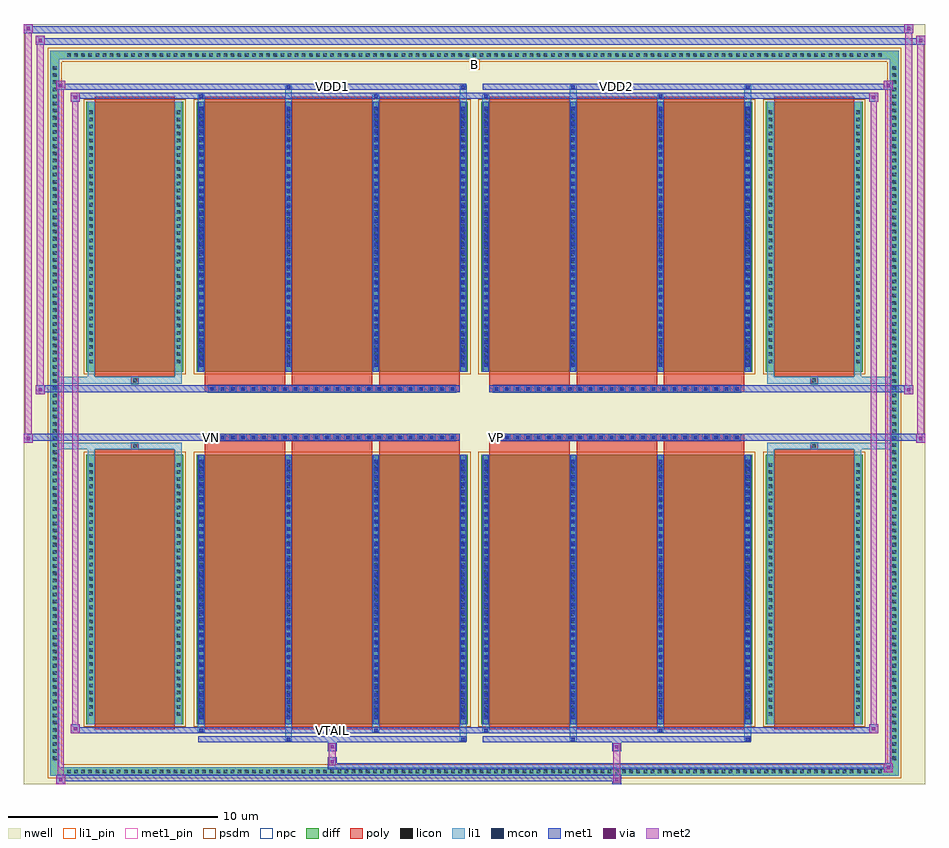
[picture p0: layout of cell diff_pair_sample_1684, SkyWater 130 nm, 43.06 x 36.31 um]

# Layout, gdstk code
import gdstk
lib = gdstk.Library(unit=1e-6, precision=5e-09)
def R(c, l, rs):  # rectangles x0, y0, x1, y1
    for r in rs: c.add(gdstk.rectangle(r[:2], r[2:], *l))
def A(c, l, x, y, w, h, nx, ny, dx, dy):  # array of equal rectangles
    R(c, l, [(x+i*dx, y+j*dy, x+i*dx+w, y+j*dy+h) for i in range(nx) for j in range(ny)])
def P(c, l, *ps):  # polygons
    for p in ps: c.add(gdstk.Polygon(p, *l))
nwell = (64, 20)
diff = (65, 20)
poly = (66, 20)
licon = (66, 44)
li1_pin = (67, 16)
li1 = (67, 20)
mcon = (67, 44)
met1_pin = (68, 16)
met1 = (68, 20)
via = (68, 44)
met2 = (69, 20)
psdm = (94, 20)
npc = (95, 20)

diff_pair_sample_1684 = lib.new_cell('diff_pair_sample_1684')
R(diff_pair_sample_1684, nwell, [(-21.53,-17.72,21.53,18.59), (-18.85,-15.91,-0.01,-0.795), (0.01,-15.91,18.85,-0.795), (-18.85,0.795,-0.01,15.91), (0.01,0.795,18.85,15.91)])
A(diff_pair_sample_1684, diff, -19.585, -17.32, 0.41, 0.41, 115, 2, 0.34, 34.23)
A(diff_pair_sample_1684, diff, -20.26, -16.695, 0.41, 0.41, 1, 98, 0, 0.34)
A(diff_pair_sample_1684, diff, 19.85, -16.695, 0.41, 0.41, 1, 98, 0, 0.34)
R(diff_pair_sample_1684, diff, [(-19.585,-17.32,19.585,-16.91), (-20.26,-16.695,-19.85,16.695), (19.85,-16.695,20.26,16.695), (-18.54,-14.865,-13.92,-1.985), (-13.28,-14.865,-0.32,-1.985), (0.32,-14.865,13.28,-1.985), (13.92,-14.865,18.54,-1.985), (-18.54,1.985,-13.92,14.865), (-13.28,1.985,-0.32,14.865), (0.32,1.985,13.28,14.865), (13.92,1.985,18.54,14.865), (-19.585,16.91,19.585,17.32)])
P(diff_pair_sample_1684, diff, [(20.26,17.32),(-20.26,17.32),(-20.26,-16.91),(-19.85,-16.91),(-19.85,16.91),(19.85,16.91),(19.85,-16.91),(-19.85,-16.91),(-20.26,-16.91),(-20.26,-17.32),(20.26,-17.32)])
A(diff_pair_sample_1684, poly, -12.89, -15.115, 3.84, 13.38, 3, 2, 4.17, 16.85)
A(diff_pair_sample_1684, poly, 0.71, -15.115, 3.84, 13.38, 3, 2, 4.17, 16.85)
A(diff_pair_sample_1684, poly, -12.89, -1.735, 3.84, 0.41, 3, 2, 4.17, 3.06)
A(diff_pair_sample_1684, poly, 0.71, -1.735, 3.84, 0.41, 3, 2, 4.17, 3.06)
A(diff_pair_sample_1684, poly, -12.715, -1.325, 0.33, 0.33, 24, 2, 0.5, 2.32)
A(diff_pair_sample_1684, poly, 0.885, -1.325, 0.33, 0.33, 24, 2, 0.5, 2.32)
R(diff_pair_sample_1684, poly, [(-18.15,-15.115,-14.31,-1.735), (14.31,-15.115,18.15,-1.735), (-16.395,-1.735,-16.065,-1.405), (-16.395,-1.735,-16.065,-1.405), (16.065,-1.735,16.395,-1.405), (16.065,-1.735,16.395,-1.405), (-12.89,-1.325,-0.71,-0.995), (0.71,-1.325,12.89,-0.995), (-12.89,0.995,-0.71,1.325), (0.71,0.995,12.89,1.325), (-16.395,1.405,-16.065,1.735), (-16.395,1.405,-16.065,1.735), (16.065,1.405,16.395,1.735), (16.065,1.405,16.395,1.735), (-18.15,1.735,-14.31,15.115), (14.31,1.735,18.15,15.115)])
A(diff_pair_sample_1684, licon, -19.465, -17.2, 0.17, 0.17, 115, 2, 0.34, 34.23)
A(diff_pair_sample_1684, licon, -20.14, -16.575, 0.17, 0.17, 1, 98, 0, 0.34)
A(diff_pair_sample_1684, licon, 19.97, -16.575, 0.17, 0.17, 1, 98, 0, 0.34)
A(diff_pair_sample_1684, licon, -18.4, -14.46, 0.17, 0.17, 1, 36, 0, 0.34)
A(diff_pair_sample_1684, licon, -14.23, -14.46, 0.17, 0.17, 1, 36, 0, 0.34)
A(diff_pair_sample_1684, licon, -13.14, -14.46, 0.17, 0.17, 4, 36, 4.17, 0.34)
A(diff_pair_sample_1684, licon, 0.46, -14.46, 0.17, 0.17, 4, 36, 4.17, 0.34)
A(diff_pair_sample_1684, licon, 14.06, -14.46, 0.17, 0.17, 1, 36, 0, 0.34)
A(diff_pair_sample_1684, licon, 18.23, -14.46, 0.17, 0.17, 1, 36, 0, 0.34)
A(diff_pair_sample_1684, licon, -12.635, -1.245, 0.17, 0.17, 24, 2, 0.5, 2.32)
A(diff_pair_sample_1684, licon, 0.965, -1.245, 0.17, 0.17, 24, 2, 0.5, 2.32)
A(diff_pair_sample_1684, licon, -18.4, 2.39, 0.17, 0.17, 1, 36, 0, 0.34)
A(diff_pair_sample_1684, licon, -14.23, 2.39, 0.17, 0.17, 1, 36, 0, 0.34)
A(diff_pair_sample_1684, licon, -13.14, 2.39, 0.17, 0.17, 4, 36, 4.17, 0.34)
A(diff_pair_sample_1684, licon, 0.46, 2.39, 0.17, 0.17, 4, 36, 4.17, 0.34)
A(diff_pair_sample_1684, licon, 14.06, 2.39, 0.17, 0.17, 1, 36, 0, 0.34)
A(diff_pair_sample_1684, licon, 18.23, 2.39, 0.17, 0.17, 1, 36, 0, 0.34)
R(diff_pair_sample_1684, licon, [(-16.315,-1.655,-16.145,-1.485), (16.145,-1.655,16.315,-1.485), (-16.315,1.485,-16.145,1.655), (16.145,1.485,16.315,1.655)])
R(diff_pair_sample_1684, li1_pin, [(-0.25,16.41,0.25,16.91)])
A(diff_pair_sample_1684, li1, -19.545, -17.28, 0.33, 0.33, 115, 2, 0.34, 34.23)
A(diff_pair_sample_1684, li1, -20.22, -16.655, 0.33, 0.33, 1, 98, 0, 0.34)
A(diff_pair_sample_1684, li1, 19.89, -16.655, 0.33, 0.33, 1, 98, 0, 0.34)
A(diff_pair_sample_1684, li1, -13.22, -14.865, 0.33, 12.88, 4, 2, 4.17, 16.85)
A(diff_pair_sample_1684, li1, 0.38, -14.865, 0.33, 12.88, 4, 2, 4.17, 16.85)
A(diff_pair_sample_1684, li1, -13.14, -14.63, 0.17, 0.17, 4, 35, 4.17, 0.36)
A(diff_pair_sample_1684, li1, -13.14, -14.63, 0.17, 12.41, 4, 2, 4.17, 16.85)
A(diff_pair_sample_1684, li1, 0.46, -14.63, 0.17, 0.17, 4, 35, 4.17, 0.36)
A(diff_pair_sample_1684, li1, 0.46, -14.63, 0.17, 12.41, 4, 2, 4.17, 16.85)
A(diff_pair_sample_1684, li1, -18.48, -14.54, 0.33, 0.33, 1, 36, 0, 0.34)
A(diff_pair_sample_1684, li1, -14.31, -14.54, 0.33, 0.33, 1, 36, 0, 0.34)
A(diff_pair_sample_1684, li1, -13.22, -14.54, 0.33, 0.33, 4, 36, 4.17, 0.34)
A(diff_pair_sample_1684, li1, 0.38, -14.54, 0.33, 0.33, 4, 36, 4.17, 0.34)
A(diff_pair_sample_1684, li1, 13.98, -14.54, 0.33, 0.33, 1, 36, 0, 0.34)
A(diff_pair_sample_1684, li1, 18.15, -14.54, 0.33, 0.33, 1, 36, 0, 0.34)
A(diff_pair_sample_1684, li1, -12.715, -1.325, 0.33, 0.33, 24, 2, 0.5, 2.32)
A(diff_pair_sample_1684, li1, 0.885, -1.325, 0.33, 0.33, 24, 2, 0.5, 2.32)
A(diff_pair_sample_1684, li1, -13.14, 2.22, 0.17, 0.17, 4, 35, 4.17, 0.36)
A(diff_pair_sample_1684, li1, 0.46, 2.22, 0.17, 0.17, 4, 35, 4.17, 0.36)
A(diff_pair_sample_1684, li1, -18.48, 2.31, 0.33, 0.33, 1, 36, 0, 0.34)
A(diff_pair_sample_1684, li1, -14.31, 2.31, 0.33, 0.33, 1, 36, 0, 0.34)
A(diff_pair_sample_1684, li1, -13.22, 2.31, 0.33, 0.33, 4, 36, 4.17, 0.34)
A(diff_pair_sample_1684, li1, 0.38, 2.31, 0.33, 0.33, 4, 36, 4.17, 0.34)
A(diff_pair_sample_1684, li1, 13.98, 2.31, 0.33, 0.33, 1, 36, 0, 0.34)
A(diff_pair_sample_1684, li1, 18.15, 2.31, 0.33, 0.33, 1, 36, 0, 0.34)
R(diff_pair_sample_1684, li1, [(-20.26,-17.32,-19.85,-16.91), (-20.26,-17.32,-19.85,-16.91), (-19.85,-17.32,19.85,-16.91), (19.85,-17.32,20.26,-16.91), (19.85,-17.32,20.26,-16.91), (-20.26,-16.91,-19.85,16.91), (19.85,-16.91,20.26,16.91), (-9.05,-15.67,-8.72,-14.865), (-8.97,-15.67,-8.8,-15.5), (-0.71,-15.67,-0.38,-14.865), (-0.63,-15.67,-0.46,-15.5), (4.55,-15.67,4.88,-14.865), (4.63,-15.67,4.8,-15.5), (12.89,-15.67,13.22,-14.865), (12.97,-15.67,13.14,-15.5), (-13.22,-15.24,-12.89,-14.865), (-13.14,-15.24,-12.97,-15.07), (-4.88,-15.24,-4.55,-14.865), (-4.8,-15.24,-4.63,-15.07), (0.38,-15.24,0.71,-14.865), (0.46,-15.24,0.63,-15.07), (8.72,-15.24,9.05,-14.865), (8.8,-15.24,8.97,-15.07), (-18.48,-14.865,-18.15,-1.985), (-14.31,-14.865,-13.98,-1.985), (13.98,-14.865,14.31,-1.985), (18.15,-14.865,18.48,-1.985), (-18.48,-1.985,-18.15,-1.405), (-14.31,-1.985,-13.98,-1.405), (13.98,-1.985,14.31,-1.405), (18.15,-1.985,18.48,-1.405), (-20.26,-1.735,-16.395,-1.405), (-18.48,-1.735,-16.395,-1.405), (-16.395,-1.735,-16.065,-1.405), (-16.065,-1.735,-13.98,-1.405), (13.98,-1.735,16.065,-1.405), (16.065,-1.735,16.395,-1.405), (16.065,-1.735,20.26,-1.405), (16.395,-1.735,18.48,-1.405), (-20.26,1.405,-16.395,1.735), (-18.48,1.405,-16.395,1.735), (-18.48,1.405,-18.15,1.985), (-16.395,1.405,-16.065,1.735), (-16.065,1.405,-13.98,1.735), (-14.31,1.405,-13.98,1.985), (13.98,1.405,16.065,1.735), (13.98,1.405,14.31,1.985), (16.065,1.405,16.395,1.735), (16.065,1.405,20.26,1.735), (16.395,1.405,18.48,1.735), (18.15,1.405,18.48,1.985), (-18.48,1.985,-18.15,14.865), (-14.31,1.985,-13.98,14.865), (13.98,1.985,14.31,14.865), (18.15,1.985,18.48,14.865), (-13.22,14.865,-12.89,15.24), (-9.05,14.865,-8.72,15.67), (-4.88,14.865,-4.55,15.24), (-0.71,14.865,-0.38,15.67), (0.38,14.865,0.71,15.24), (4.55,14.865,4.88,15.67), (8.72,14.865,9.05,15.24), (12.89,14.865,13.22,15.67), (-13.14,15.07,-12.97,15.24), (-4.8,15.07,-4.63,15.24), (0.46,15.07,0.63,15.24), (8.8,15.07,8.97,15.24), (-8.97,15.5,-8.8,15.67), (-0.63,15.5,-0.46,15.67), (4.63,15.5,4.8,15.67), (12.97,15.5,13.14,15.67), (-20.26,16.91,-19.85,17.32), (-20.26,16.91,-19.85,17.32), (-19.85,16.91,19.85,17.32), (19.85,16.91,20.26,17.32), (19.85,16.91,20.26,17.32)])
A(diff_pair_sample_1684, mcon, -13.14, -14.63, 0.17, 0.17, 4, 35, 4.17, 0.36)
A(diff_pair_sample_1684, mcon, 0.46, -14.63, 0.17, 0.17, 4, 35, 4.17, 0.36)
A(diff_pair_sample_1684, mcon, -12.635, -1.245, 0.17, 0.17, 24, 2, 0.5, 2.32)
A(diff_pair_sample_1684, mcon, 0.965, -1.245, 0.17, 0.17, 24, 2, 0.5, 2.32)
A(diff_pair_sample_1684, mcon, -13.14, 2.22, 0.17, 0.17, 4, 35, 4.17, 0.36)
A(diff_pair_sample_1684, mcon, 0.46, 2.22, 0.17, 0.17, 4, 35, 4.17, 0.36)
R(diff_pair_sample_1684, mcon, [(-8.97,-15.67,-8.8,-15.5), (-0.63,-15.67,-0.46,-15.5), (4.63,-15.67,4.8,-15.5), (12.97,-15.67,13.14,-15.5), (-13.14,-15.24,-12.97,-15.07), (-4.8,-15.24,-4.63,-15.07), (0.46,-15.24,0.63,-15.07), (8.8,-15.24,8.97,-15.07), (-13.14,15.07,-12.97,15.24), (-4.8,15.07,-4.63,15.24), (0.46,15.07,0.63,15.24), (8.8,15.07,8.97,15.24), (-8.97,15.5,-8.8,15.67), (-0.63,15.5,-0.46,15.67), (4.63,15.5,4.8,15.67), (12.97,15.5,13.14,15.67)])
R(diff_pair_sample_1684, met1_pin, [(-6.935,-15.28,-6.665,-15.01), (-12.685,-1.285,-12.415,-1.015), (0.915,-1.285,1.185,-1.015), (-6.935,15.46,-6.665,15.73), (6.665,15.46,6.935,15.73)])
A(diff_pair_sample_1684, met1, -13.2, -14.865, 0.29, 12.88, 4, 2, 4.17, 16.85)
A(diff_pair_sample_1684, met1, 0.4, -14.865, 0.29, 12.88, 4, 2, 4.17, 16.85)
A(diff_pair_sample_1684, met1, -13.2, -14.69, 0.29, 0.29, 4, 35, 4.17, 0.36)
A(diff_pair_sample_1684, met1, 0.4, -14.69, 0.29, 0.29, 4, 35, 4.17, 0.36)
A(diff_pair_sample_1684, met1, -12.695, -1.305, 0.29, 0.29, 24, 2, 0.5, 2.32)
A(diff_pair_sample_1684, met1, 0.905, -1.305, 0.29, 0.29, 24, 2, 0.5, 2.32)
A(diff_pair_sample_1684, met1, -13.2, 2.16, 0.29, 0.29, 4, 35, 4.17, 0.36)
A(diff_pair_sample_1684, met1, 0.4, 2.16, 0.29, 0.29, 4, 35, 4.17, 0.36)
R(diff_pair_sample_1684, met1, [(-19.99,-17.72,-19.56,-17.29), (6.585,-17.72,7.015,-17.29), (-19.99,-17.58,7.015,-17.29), (19.56,-17.15,19.99,-16.72), (-7.015,-17.01,19.99,-16.72), (-7.015,-16.87,-6.585,-16.44), (-7.015,-16.16,-6.585,-15.73), (6.585,-16.16,7.015,-15.73), (-13.2,-15.73,-0.4,-15.44), (-9.03,-15.73,-8.74,-15.44), (-0.69,-15.73,-0.4,-15.44), (0.4,-15.73,13.2,-15.44), (4.57,-15.73,4.86,-15.44), (12.91,-15.73,13.2,-15.44), (-19.28,-15.3,-18.85,-14.87), (-19.28,-15.3,-13.2,-15.01), (-13.2,-15.3,-12.91,-15.01), (-13.2,-15.3,-0.4,-15.01), (-4.86,-15.3,-4.57,-15.01), (-0.4,-15.3,0.4,-15.01), (0.4,-15.3,0.69,-15.01), (0.4,-15.3,13.2,-15.01), (8.74,-15.3,9.03,-15.01), (13.2,-15.3,19.28,-15.01), (18.85,-15.3,19.28,-14.87), (-21.53,-1.425,-21.1,-0.995), (21.1,-1.425,21.53,-0.995), (-21.53,-1.325,-0.71,-0.995), (-12.89,-1.325,-0.71,-0.995), (0.71,-1.325,12.89,-0.995), (0.71,-1.325,21.53,-0.995), (-20.96,0.895,-20.53,1.325), (20.53,0.895,20.96,1.325), (-20.96,0.995,-12.89,1.325), (-12.89,0.995,-0.71,1.325), (0.71,0.995,12.89,1.325), (12.89,0.995,20.96,1.325), (-19.28,14.87,-18.85,15.3), (18.85,14.87,19.28,15.3), (-19.28,15.01,-13.2,15.3), (-13.2,15.01,-12.91,15.3), (-13.2,15.01,-0.4,15.3), (-4.86,15.01,-4.57,15.3), (-0.4,15.01,0.4,15.3), (0.4,15.01,0.69,15.3), (0.4,15.01,13.2,15.3), (8.74,15.01,9.03,15.3), (13.2,15.01,19.28,15.3), (-19.99,15.44,-19.56,15.87), (-19.99,15.44,-13.2,15.73), (-13.2,15.44,-0.4,15.73), (-9.03,15.44,-8.74,15.73), (-0.69,15.44,-0.4,15.73), (0.4,15.44,13.2,15.73), (4.57,15.44,4.86,15.73), (12.91,15.44,13.2,15.73), (13.2,15.44,19.99,15.73), (19.56,15.44,19.99,15.87), (-20.96,17.59,-20.53,18.02), (-20.96,17.59,-18.85,17.92), (-18.85,17.59,18.85,17.92), (18.85,17.59,21.53,17.92), (21.1,17.59,21.53,18.02), (-21.53,18.16,-21.1,18.59), (-21.53,18.16,-18.85,18.49), (-18.85,18.16,18.85,18.49), (18.85,18.16,20.96,18.49), (20.53,18.16,20.96,18.59)])
R(diff_pair_sample_1684, via, [(-19.85,-17.58,-19.7,-17.43), (6.725,-17.58,6.875,-17.43), (19.7,-17.01,19.85,-16.86), (-6.875,-16.73,-6.725,-16.58), (-6.875,-16.02,-6.725,-15.87), (6.725,-16.02,6.875,-15.87), (-19.14,-15.16,-18.99,-15.01), (18.99,-15.16,19.14,-15.01), (-21.39,-1.285,-21.24,-1.135), (21.24,-1.285,21.39,-1.135), (-20.82,1.035,-20.67,1.185), (20.67,1.035,20.82,1.185), (-19.14,15.01,-18.99,15.16), (18.99,15.01,19.14,15.16), (-19.85,15.58,-19.7,15.73), (19.7,15.58,19.85,15.73), (-20.82,17.73,-20.67,17.88), (21.24,17.73,21.39,17.88), (-21.39,18.3,-21.24,18.45), (20.67,18.3,20.82,18.45)])
R(diff_pair_sample_1684, met2, [(-19.99,-17.72,-19.56,-17.29), (-19.92,-17.72,-19.63,15.87), (-19.63,-17.72,-19.56,-17.29), (-19.94,-17.67,-19.61,-17.34), (6.635,-17.67,6.965,-17.34), (6.635,-17.34,6.965,-16.11), (19.56,-17.15,19.99,-16.72), (19.63,-17.15,19.92,15.87), (19.92,-17.15,19.99,-16.72), (19.61,-17.1,19.94,-16.77), (-6.965,-16.82,-6.635,-16.49), (-6.965,-16.49,-6.635,-16.11), (-6.965,-16.11,-6.635,-15.78), (6.635,-16.11,6.965,-15.78), (-19.28,-15.3,-18.85,-14.87), (-19.21,-15.3,-18.92,15.3), (-18.92,-15.3,-18.85,-14.87), (18.85,-15.3,19.28,-14.87), (18.92,-15.3,19.21,15.3), (19.21,-15.3,19.28,-14.87), (-19.23,-15.25,-18.9,-14.92), (18.9,-15.25,19.23,-14.92), (-21.53,-1.425,-21.1,-0.995), (-21.48,-1.425,-21.15,18.59), (-21.15,-1.425,-21.1,-0.995), (21.1,-1.425,21.53,-0.995), (21.15,-1.425,21.48,18.02), (21.48,-1.425,21.53,-0.995), (-21.48,-1.375,-21.15,-1.045), (21.15,-1.375,21.48,-1.045), (-20.96,0.895,-20.53,1.325), (-20.91,0.895,-20.58,18.02), (-20.58,0.895,-20.53,1.325), (20.53,0.895,20.96,1.325), (20.58,0.895,20.91,18.59), (20.91,0.895,20.96,1.325), (-20.91,0.945,-20.58,1.275), (20.58,0.945,20.91,1.275), (-19.28,14.87,-18.85,15.3), (-18.92,14.87,-18.85,15.3), (18.85,14.87,19.28,15.3), (19.21,14.87,19.28,15.3), (-19.23,14.92,-18.9,15.25), (18.9,14.92,19.23,15.25), (-19.99,15.44,-19.56,15.87), (-19.63,15.44,-19.56,15.87), (19.56,15.44,19.99,15.87), (19.92,15.44,19.99,15.87), (-19.94,15.49,-19.61,15.82), (19.61,15.49,19.94,15.82), (-20.96,17.59,-20.53,18.02), (-20.58,17.59,-20.53,18.02), (21.1,17.59,21.53,18.02), (21.48,17.59,21.53,18.02), (-20.91,17.64,-20.58,17.97), (21.15,17.64,21.48,17.97), (-21.53,18.16,-21.1,18.59), (-21.15,18.16,-21.1,18.59), (20.53,18.16,20.96,18.59), (20.91,18.16,20.96,18.59), (-21.48,18.21,-21.15,18.54), (20.58,18.21,20.91,18.54)])
R(diff_pair_sample_1684, psdm, [(-18.67,-14.995,-13.79,-1.855), (-13.41,-14.995,-0.19,-1.855), (0.19,-14.995,13.41,-1.855), (13.79,-14.995,18.67,-1.855), (-18.67,1.855,-13.79,14.995), (-13.41,1.855,-0.19,14.995), (0.19,1.855,13.41,14.995), (13.79,1.855,18.67,14.995)])
P(diff_pair_sample_1684, psdm, [(20.39,17.45),(-20.39,17.45),(-20.39,-16.78),(-19.72,-16.78),(-19.72,16.78),(19.72,16.78),(19.72,-16.78),(-19.72,-16.78),(-20.39,-16.78),(-20.39,-17.45),(20.39,-17.45)])
A(diff_pair_sample_1684, npc, -12.735, -1.345, 0.37, 0.37, 24, 2, 0.5, 2.32)
A(diff_pair_sample_1684, npc, 0.865, -1.345, 0.37, 0.37, 24, 2, 0.5, 2.32)
R(diff_pair_sample_1684, npc, [(-16.415,-1.755,-16.045,-1.385), (16.045,-1.755,16.415,-1.385), (-12.735,-1.345,-11.865,-0.975), (-12.735,-1.345,-11.865,-0.975), (-12.235,-1.345,-11.365,-0.975), (-12.235,-1.345,-11.365,-0.975), (-11.735,-1.345,-10.865,-0.975), (-11.735,-1.345,-10.865,-0.975), (-11.235,-1.345,-10.365,-0.975), (-11.235,-1.345,-10.365,-0.975), (-10.735,-1.345,-9.865,-0.975), (-10.735,-1.345,-9.865,-0.975), (-10.235,-1.345,-9.365,-0.975), (-10.235,-1.345,-9.365,-0.975), (-9.735,-1.345,-8.865,-0.975), (-9.735,-1.345,-8.865,-0.975), (-9.235,-1.345,-8.365,-0.975), (-9.235,-1.345,-8.365,-0.975), (-8.735,-1.345,-7.865,-0.975), (-8.735,-1.345,-7.865,-0.975), (-8.235,-1.345,-7.365,-0.975), (-8.235,-1.345,-7.365,-0.975), (-7.735,-1.345,-6.865,-0.975), (-7.735,-1.345,-6.865,-0.975), (-7.235,-1.345,-6.365,-0.975), (-7.235,-1.345,-6.365,-0.975), (-6.735,-1.345,-5.865,-0.975), (-6.735,-1.345,-5.865,-0.975), (-6.235,-1.345,-5.365,-0.975), (-6.235,-1.345,-5.365,-0.975), (-5.735,-1.345,-4.865,-0.975), (-5.735,-1.345,-4.865,-0.975), (-5.235,-1.345,-4.365,-0.975), (-5.235,-1.345,-4.365,-0.975), (-4.735,-1.345,-3.865,-0.975), (-4.735,-1.345,-3.865,-0.975), (-4.235,-1.345,-3.365,-0.975), (-4.235,-1.345,-3.365,-0.975), (-3.735,-1.345,-2.865,-0.975), (-3.735,-1.345,-2.865,-0.975), (-3.235,-1.345,-2.365,-0.975), (-3.235,-1.345,-2.365,-0.975), (-2.735,-1.345,-1.865,-0.975), (-2.735,-1.345,-1.865,-0.975), (-2.235,-1.345,-1.365,-0.975), (-2.235,-1.345,-1.365,-0.975), (-1.735,-1.345,-0.865,-0.975), (-1.735,-1.345,-0.865,-0.975), (0.865,-1.345,1.735,-0.975), (0.865,-1.345,1.735,-0.975), (1.365,-1.345,2.235,-0.975), (1.365,-1.345,2.235,-0.975), (1.865,-1.345,2.735,-0.975), (1.865,-1.345,2.735,-0.975), (2.365,-1.345,3.235,-0.975), (2.365,-1.345,3.235,-0.975), (2.865,-1.345,3.735,-0.975), (2.865,-1.345,3.735,-0.975), (3.365,-1.345,4.235,-0.975), (3.365,-1.345,4.235,-0.975), (3.865,-1.345,4.735,-0.975), (3.865,-1.345,4.735,-0.975), (4.365,-1.345,5.235,-0.975), (4.365,-1.345,5.235,-0.975), (4.865,-1.345,5.735,-0.975), (4.865,-1.345,5.735,-0.975), (5.365,-1.345,6.235,-0.975), (5.365,-1.345,6.235,-0.975), (5.865,-1.345,6.735,-0.975), (5.865,-1.345,6.735,-0.975), (6.365,-1.345,7.235,-0.975), (6.365,-1.345,7.235,-0.975), (6.865,-1.345,7.735,-0.975), (6.865,-1.345,7.735,-0.975), (7.365,-1.345,8.235,-0.975), (7.365,-1.345,8.235,-0.975), (7.865,-1.345,8.735,-0.975), (7.865,-1.345,8.735,-0.975), (8.365,-1.345,9.235,-0.975), (8.365,-1.345,9.235,-0.975), (8.865,-1.345,9.735,-0.975), (8.865,-1.345,9.735,-0.975), (9.365,-1.345,10.235,-0.975), (9.365,-1.345,10.235,-0.975), (9.865,-1.345,10.735,-0.975), (9.865,-1.345,10.735,-0.975), (10.365,-1.345,11.235,-0.975), (10.365,-1.345,11.235,-0.975), (10.865,-1.345,11.735,-0.975), (10.865,-1.345,11.735,-0.975), (11.365,-1.345,12.235,-0.975), (11.365,-1.345,12.235,-0.975), (11.865,-1.345,12.735,-0.975), (11.865,-1.345,12.735,-0.975), (-12.735,0.975,-11.865,1.345), (-12.735,0.975,-11.865,1.345), (-12.235,0.975,-11.365,1.345), (-12.235,0.975,-11.365,1.345), (-11.735,0.975,-10.865,1.345), (-11.735,0.975,-10.865,1.345), (-11.235,0.975,-10.365,1.345), (-11.235,0.975,-10.365,1.345), (-10.735,0.975,-9.865,1.345), (-10.735,0.975,-9.865,1.345), (-10.235,0.975,-9.365,1.345), (-10.235,0.975,-9.365,1.345), (-9.735,0.975,-8.865,1.345), (-9.735,0.975,-8.865,1.345), (-9.235,0.975,-8.365,1.345), (-9.235,0.975,-8.365,1.345), (-8.735,0.975,-7.865,1.345), (-8.735,0.975,-7.865,1.345), (-8.235,0.975,-7.365,1.345), (-8.235,0.975,-7.365,1.345), (-7.735,0.975,-6.865,1.345), (-7.735,0.975,-6.865,1.345), (-7.235,0.975,-6.365,1.345), (-7.235,0.975,-6.365,1.345), (-6.735,0.975,-5.865,1.345), (-6.735,0.975,-5.865,1.345), (-6.235,0.975,-5.365,1.345), (-6.235,0.975,-5.365,1.345), (-5.735,0.975,-4.865,1.345), (-5.735,0.975,-4.865,1.345), (-5.235,0.975,-4.365,1.345), (-5.235,0.975,-4.365,1.345), (-4.735,0.975,-3.865,1.345), (-4.735,0.975,-3.865,1.345), (-4.235,0.975,-3.365,1.345), (-4.235,0.975,-3.365,1.345), (-3.735,0.975,-2.865,1.345), (-3.735,0.975,-2.865,1.345), (-3.235,0.975,-2.365,1.345), (-3.235,0.975,-2.365,1.345), (-2.735,0.975,-1.865,1.345), (-2.735,0.975,-1.865,1.345), (-2.235,0.975,-1.365,1.345), (-2.235,0.975,-1.365,1.345), (-1.735,0.975,-0.865,1.345), (-1.735,0.975,-0.865,1.345), (0.865,0.975,1.735,1.345), (0.865,0.975,1.735,1.345), (1.365,0.975,2.235,1.345), (1.365,0.975,2.235,1.345), (1.865,0.975,2.735,1.345), (1.865,0.975,2.735,1.345), (2.365,0.975,3.235,1.345), (2.365,0.975,3.235,1.345), (2.865,0.975,3.735,1.345), (2.865,0.975,3.735,1.345), (3.365,0.975,4.235,1.345), (3.365,0.975,4.235,1.345), (3.865,0.975,4.735,1.345), (3.865,0.975,4.735,1.345), (4.365,0.975,5.235,1.345), (4.365,0.975,5.235,1.345), (4.865,0.975,5.735,1.345), (4.865,0.975,5.735,1.345), (5.365,0.975,6.235,1.345), (5.365,0.975,6.235,1.345), (5.865,0.975,6.735,1.345), (5.865,0.975,6.735,1.345), (6.365,0.975,7.235,1.345), (6.365,0.975,7.235,1.345), (6.865,0.975,7.735,1.345), (6.865,0.975,7.735,1.345), (7.365,0.975,8.235,1.345), (7.365,0.975,8.235,1.345), (7.865,0.975,8.735,1.345), (7.865,0.975,8.735,1.345), (8.365,0.975,9.235,1.345), (8.365,0.975,9.235,1.345), (8.865,0.975,9.735,1.345), (8.865,0.975,9.735,1.345), (9.365,0.975,10.235,1.345), (9.365,0.975,10.235,1.345), (9.865,0.975,10.735,1.345), (9.865,0.975,10.735,1.345), (10.365,0.975,11.235,1.345), (10.365,0.975,11.235,1.345), (10.865,0.975,11.735,1.345), (10.865,0.975,11.735,1.345), (11.365,0.975,12.235,1.345), (11.365,0.975,12.235,1.345), (11.865,0.975,12.735,1.345), (11.865,0.975,12.735,1.345), (-16.415,1.385,-16.045,1.755), (16.045,1.385,16.415,1.755)])
diff_pair_sample_1684.add(gdstk.Label('VTAIL', (-6.8,-15.145), layer=68, texttype=5))
diff_pair_sample_1684.add(gdstk.Label('VN', (-12.55,-1.15), layer=68, texttype=5))
diff_pair_sample_1684.add(gdstk.Label('VP', (1.05,-1.15), layer=68, texttype=5))
diff_pair_sample_1684.add(gdstk.Label('B', (0,16.66), layer=67, texttype=5))
diff_pair_sample_1684.add(gdstk.Label('VDD2', (6.8,15.595), layer=68, texttype=5))
diff_pair_sample_1684.add(gdstk.Label('VDD1', (-6.8,15.595), layer=68, texttype=5))

lib.write_gds('diff_pair_sample_1684.gds')
